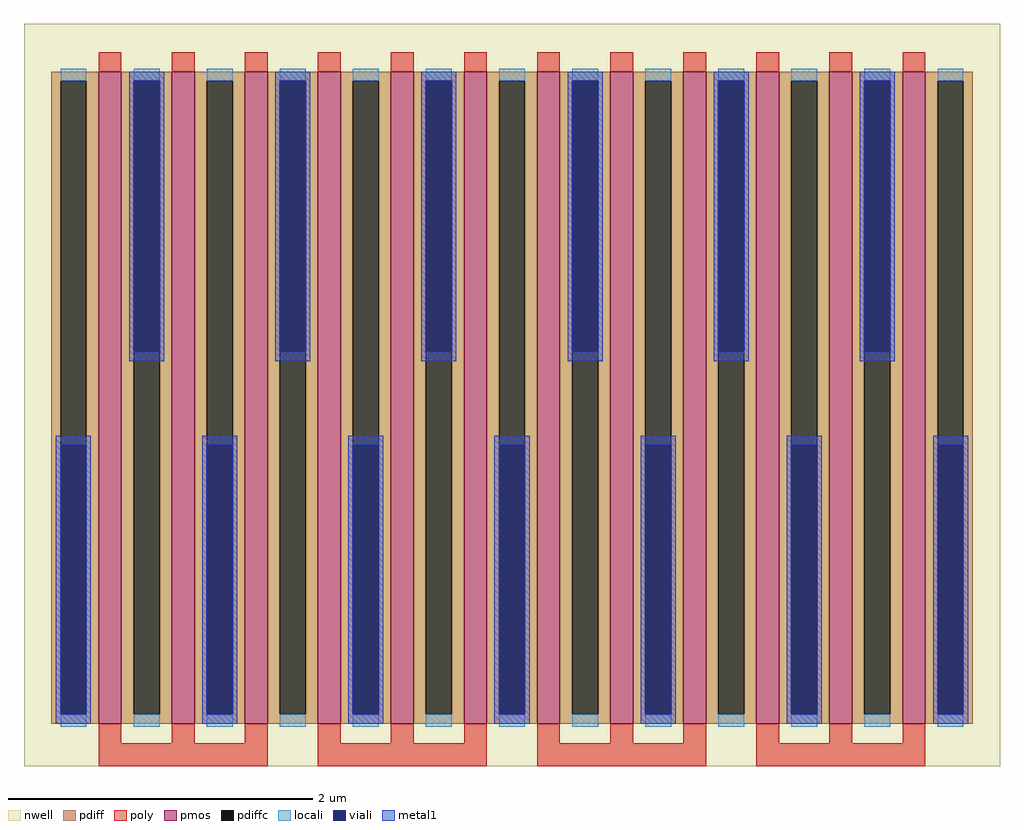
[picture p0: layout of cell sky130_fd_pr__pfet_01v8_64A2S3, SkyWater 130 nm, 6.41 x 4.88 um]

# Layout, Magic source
magic
tech sky130B
magscale 1 2
<< nwell >>
rect -641 -484 641 491
<< pmos >>
rect -543 -428 -513 428
rect -447 -428 -417 428
rect -351 -428 -321 428
rect -255 -428 -225 428
rect -159 -428 -129 428
rect -63 -428 -33 428
rect 33 -428 63 428
rect 129 -428 159 428
rect 225 -428 255 428
rect 321 -428 351 428
rect 417 -428 447 428
rect 513 -428 543 428
<< pdiff >>
rect -605 416 -543 428
rect -605 -416 -593 416
rect -559 -416 -543 416
rect -605 -428 -543 -416
rect -513 416 -447 428
rect -513 -416 -497 416
rect -463 -416 -447 416
rect -513 -428 -447 -416
rect -417 416 -351 428
rect -417 -416 -401 416
rect -367 -416 -351 416
rect -417 -428 -351 -416
rect -321 416 -255 428
rect -321 -416 -305 416
rect -271 -416 -255 416
rect -321 -428 -255 -416
rect -225 416 -159 428
rect -225 -416 -209 416
rect -175 -416 -159 416
rect -225 -428 -159 -416
rect -129 416 -63 428
rect -129 -416 -113 416
rect -79 -416 -63 416
rect -129 -428 -63 -416
rect -33 416 33 428
rect -33 -416 -17 416
rect 17 -416 33 416
rect -33 -428 33 -416
rect 63 416 129 428
rect 63 -416 79 416
rect 113 -416 129 416
rect 63 -428 129 -416
rect 159 416 225 428
rect 159 -416 175 416
rect 209 -416 225 416
rect 159 -428 225 -416
rect 255 416 321 428
rect 255 -416 271 416
rect 305 -416 321 416
rect 255 -428 321 -416
rect 351 416 417 428
rect 351 -416 367 416
rect 401 -416 417 416
rect 351 -428 417 -416
rect 447 416 513 428
rect 447 -416 463 416
rect 497 -416 513 416
rect 447 -428 513 -416
rect 543 416 605 428
rect 543 -416 559 416
rect 593 -416 605 416
rect 543 -428 605 -416
<< pdiffc >>
rect -593 -416 -559 416
rect -497 -416 -463 416
rect -401 -416 -367 416
rect -305 -416 -271 416
rect -209 -416 -175 416
rect -113 -416 -79 416
rect -17 -416 17 416
rect 79 -416 113 416
rect 175 -416 209 416
rect 271 -416 305 416
rect 367 -416 401 416
rect 463 -416 497 416
rect 559 -416 593 416
<< poly >>
rect -543 428 -513 454
rect -447 428 -417 454
rect -351 428 -321 454
rect -255 428 -225 454
rect -159 428 -129 454
rect -63 428 -33 454
rect 33 428 63 454
rect 129 428 159 454
rect 225 428 255 454
rect 321 428 351 454
rect 417 428 447 454
rect 513 428 543 454
rect -543 -454 -513 -428
rect -447 -454 -417 -428
rect -351 -454 -321 -428
rect -543 -484 -321 -454
rect -255 -454 -225 -428
rect -159 -454 -129 -428
rect -63 -454 -33 -428
rect -255 -484 -33 -454
rect 33 -454 63 -428
rect 129 -454 159 -428
rect 225 -454 255 -428
rect 33 -484 255 -454
rect 321 -454 351 -428
rect 417 -454 447 -428
rect 513 -454 543 -428
rect 321 -484 543 -454
<< locali >>
rect -593 416 -559 432
rect -593 -432 -559 -416
rect -497 416 -463 432
rect -497 -432 -463 -416
rect -401 416 -367 432
rect -401 -432 -367 -416
rect -305 416 -271 432
rect -305 -432 -271 -416
rect -209 416 -175 432
rect -209 -432 -175 -416
rect -113 416 -79 432
rect -113 -432 -79 -416
rect -17 416 17 432
rect -17 -432 17 -416
rect 79 416 113 432
rect 79 -432 113 -416
rect 175 416 209 432
rect 175 -432 209 -416
rect 271 416 305 432
rect 271 -432 305 -416
rect 367 416 401 432
rect 367 -432 401 -416
rect 463 416 497 432
rect 463 -432 497 -416
rect 559 416 593 432
rect 559 -432 593 -416
<< viali >>
rect -593 -416 -559 -62
rect -497 60 -463 416
rect -401 -416 -367 -62
rect -305 60 -271 416
rect -209 -416 -175 -62
rect -113 60 -79 416
rect -17 -416 17 -62
rect 79 60 113 416
rect 175 -416 209 -62
rect 271 60 305 416
rect 367 -416 401 -62
rect 463 60 497 416
rect 559 -416 593 -62
<< metal1 >>
rect -503 416 -457 428
rect -503 60 -497 416
rect -463 60 -457 416
rect -503 48 -457 60
rect -311 416 -265 428
rect -311 60 -305 416
rect -271 60 -265 416
rect -311 48 -265 60
rect -119 416 -73 428
rect -119 60 -113 416
rect -79 60 -73 416
rect -119 48 -73 60
rect 73 416 119 428
rect 73 60 79 416
rect 113 60 119 416
rect 73 48 119 60
rect 265 416 311 428
rect 265 60 271 416
rect 305 60 311 416
rect 265 48 311 60
rect 457 416 503 428
rect 457 60 463 416
rect 497 60 503 416
rect 457 48 503 60
rect -599 -62 -553 -50
rect -599 -416 -593 -62
rect -559 -416 -553 -62
rect -599 -428 -553 -416
rect -407 -62 -361 -50
rect -407 -416 -401 -62
rect -367 -416 -361 -62
rect -407 -428 -361 -416
rect -215 -62 -169 -50
rect -215 -416 -209 -62
rect -175 -416 -169 -62
rect -215 -428 -169 -416
rect -23 -62 23 -50
rect -23 -416 -17 -62
rect 17 -416 23 -62
rect -23 -428 23 -416
rect 169 -62 215 -50
rect 169 -416 175 -62
rect 209 -416 215 -62
rect 169 -428 215 -416
rect 361 -62 407 -50
rect 361 -416 367 -62
rect 401 -416 407 -62
rect 361 -428 407 -416
rect 553 -62 599 -50
rect 553 -416 559 -62
rect 593 -416 599 -62
rect 553 -428 599 -416
<< properties >>
string gencell sky130_fd_pr__pfet_01v8
string library sky130
string parameters w 4.28 l 0.15 m 1 nf 12 diffcov 100 polycov 100 guard 0 glc 1 grc 1 gtc 1 gbc 1 tbcov 100 rlcov 100 topc 0 botc 1 poverlap 0 doverlap 1 lmin 0.15 wmin 0.42 compatible {sky130_fd_pr__pfet_01v8  sky130_fd_pr__pfet_01v8_lvt sky130_fd_pr__pfet_01v8_hvt  sky130_fd_pr__pfet_g5v0d10v5} full_metal 1 viasrc 100 viadrn 100 viagate 0 viagb 0 viagr 0 viagl 0 viagt 0
<< end >>
